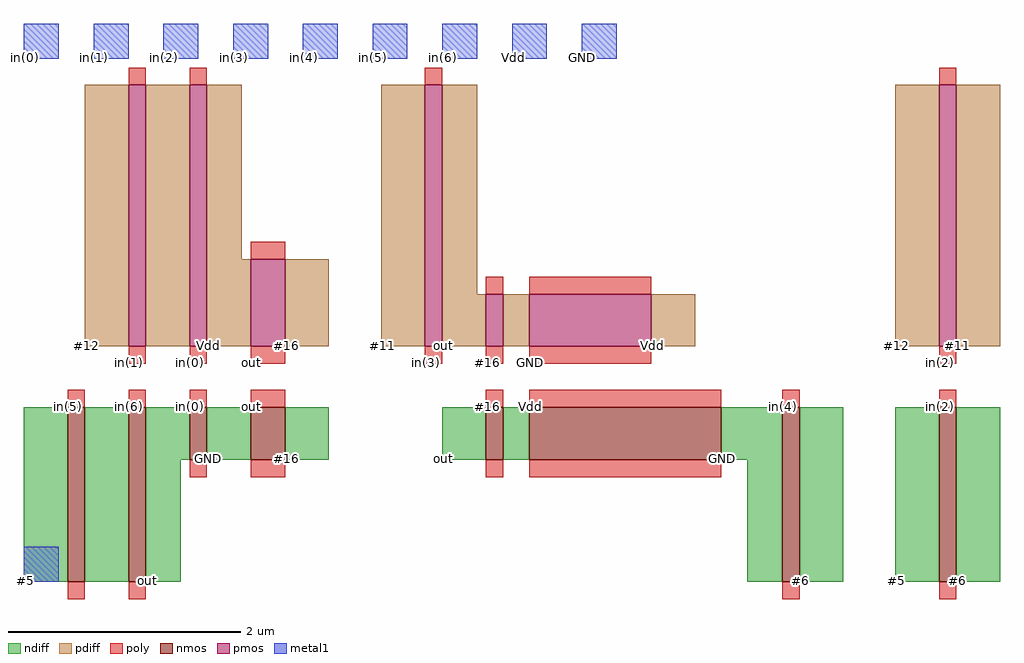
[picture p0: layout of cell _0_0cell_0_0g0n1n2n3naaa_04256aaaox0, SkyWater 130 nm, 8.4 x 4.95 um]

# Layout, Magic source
magic
tech sky130A
magscale 1 2
<< nmos >>
rect 195 60 225 360
rect 300 60 330 360
rect 405 270 435 360
rect 510 270 570 360
rect 915 270 945 360
rect 990 270 1320 360
rect 1425 60 1455 360
rect 1695 60 1725 360
<< pmos >>
rect 300 465 330 915
rect 405 465 435 915
rect 510 465 570 615
rect 810 465 840 915
rect 915 465 945 555
rect 990 465 1200 555
rect 1695 465 1725 915
<< ndiff >>
rect 120 60 195 360
rect 225 60 300 360
rect 330 270 405 360
rect 435 270 510 360
rect 570 270 645 360
rect 840 270 915 360
rect 945 270 990 360
rect 1320 270 1425 360
rect 330 60 390 270
rect 1365 60 1425 270
rect 1455 60 1530 360
rect 1620 60 1695 360
rect 1725 60 1800 360
<< pdiff >>
rect 225 465 300 915
rect 330 465 405 915
rect 435 615 495 915
rect 435 465 510 615
rect 570 465 645 615
rect 735 465 810 915
rect 840 555 900 915
rect 840 465 915 555
rect 945 465 990 555
rect 1200 465 1275 555
rect 1620 465 1695 915
rect 1725 465 1800 915
<< poly >>
rect 300 915 330 945
rect 405 915 435 945
rect 810 915 840 945
rect 1695 915 1725 945
rect 510 615 570 645
rect 915 555 945 585
rect 990 555 1200 585
rect 300 435 330 465
rect 405 435 435 465
rect 510 435 570 465
rect 810 435 840 465
rect 915 435 945 465
rect 990 435 1200 465
rect 1695 435 1725 465
rect 195 360 225 390
rect 300 360 330 390
rect 405 360 435 390
rect 510 360 570 390
rect 915 360 945 390
rect 990 360 1320 390
rect 1425 360 1455 390
rect 1695 360 1725 390
rect 405 240 435 270
rect 510 240 570 270
rect 915 240 945 270
rect 990 240 1320 270
rect 195 30 225 60
rect 300 30 330 60
rect 1425 30 1455 60
rect 1695 30 1725 60
<< metal1 >>
rect 120 960 180 1020
rect 240 960 300 1020
rect 360 960 420 1020
rect 480 960 540 1020
rect 600 960 660 1020
rect 720 960 780 1020
rect 840 960 900 1020
rect 960 960 1020 1020
rect 1080 960 1140 1020
rect 120 60 180 120
<< labels >>
rlabel ndiff 572 272 572 272 3 #16
rlabel pdiff 572 467 572 467 3 #16
rlabel poly 512 362 512 362 3 out
rlabel poly 512 437 512 437 3 out
rlabel ndiff 437 272 437 272 3 GND
rlabel poly 407 362 407 362 3 in(0)
rlabel poly 407 437 407 437 3 in(0)
rlabel pdiff 437 467 437 467 3 Vdd
rlabel ndiff 332 62 332 62 3 out
rlabel poly 302 362 302 362 3 in(6)
rlabel poly 302 437 302 437 3 in(1)
rlabel pdiff 227 467 227 467 3 #12
rlabel poly 197 362 197 362 3 in(5)
rlabel ndiff 122 62 122 62 3 #5
rlabel poly 1427 362 1427 362 3 in(4)
rlabel pdiff 1202 467 1202 467 3 Vdd
rlabel ndiff 1457 62 1457 62 3 #6
rlabel ndiff 1322 272 1322 272 3 GND
rlabel poly 992 362 992 362 3 Vdd
rlabel poly 992 437 992 437 3 GND
rlabel poly 917 362 917 362 3 #16
rlabel poly 917 437 917 437 3 #16
rlabel ndiff 842 272 842 272 3 out
rlabel pdiff 842 467 842 467 3 out
rlabel poly 812 437 812 437 3 in(3)
rlabel pdiff 737 467 737 467 3 #11
rlabel ndiff 1727 62 1727 62 3 #6
rlabel pdiff 1727 467 1727 467 3 #11
rlabel poly 1697 362 1697 362 3 in(2)
rlabel poly 1697 437 1697 437 3 in(2)
rlabel ndiff 1622 62 1622 62 3 #5
rlabel pdiff 1622 467 1622 467 3 #12
rlabel metal1 1082 962 1082 962 3 GND
port 1 e
rlabel metal1 962 962 962 962 3 Vdd
port 2 e
rlabel metal1 842 962 842 962 3 in(6)
port 3 e
rlabel metal1 722 962 722 962 3 in(5)
port 4 e
rlabel metal1 602 962 602 962 3 in(4)
port 5 e
rlabel metal1 482 962 482 962 3 in(3)
port 6 e
rlabel metal1 362 962 362 962 3 in(2)
port 7 e
rlabel metal1 242 962 242 962 3 in(1)
port 8 e
rlabel metal1 122 62 122 62 3 out
rlabel metal1 122 962 122 962 3 in(0)
port 9 e
<< end >>
